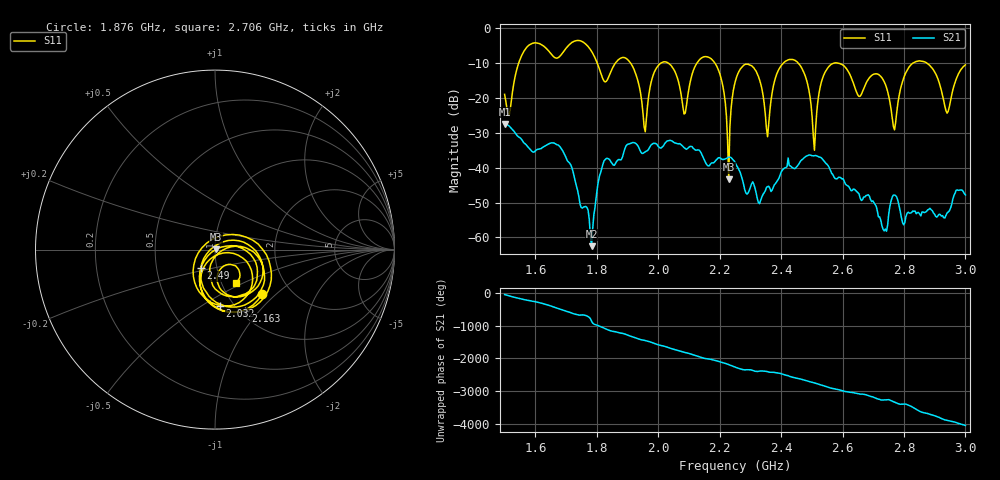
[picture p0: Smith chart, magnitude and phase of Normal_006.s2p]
# HZ S RI R 50
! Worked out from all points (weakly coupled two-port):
!   404 points, 1.5 GHz to 3 GHz, reference 50 ohm
!   highest |S21| = -27.55 dB at 1.5 GHz (marker M1); lowest = -62.5 dB at 1.783 GHz (marker M2)
!   lowest |S11| = -43.4 dB at 2.23 GHz (marker M3), VSWR 1.01, Z = 50.7 + j0.181 ohm
!   |S11| at or under -10 dB: 2.184 GHz to 2.409 GHz (225.5 MHz wide, 9.82 % of centre); 2.454 GHz to 2.832 GHz (377.7 MHz wide, 14.3 % of centre); 2.872 GHz to end of sweep (the widest 3 of 7)
!   S12 and S22 are empty: the file has one direction only
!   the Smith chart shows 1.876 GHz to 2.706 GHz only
!   S11 on the Smith chart (normalised r, x): 1.876 GHz: 1.44, -0.82; 2.032 GHz: 0.87, -0.60; 2.163 GHz: 1.06, -0.84; 2.49 GHz: 0.84, -0.18; 2.706 GHz: 1.17, -0.45
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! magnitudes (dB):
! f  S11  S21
! 1.5 GHz  -19.1  -27.6
! 1.753 GHz  -4.0  -51.6
! 1.783 GHz  -6.7  -62.5
! 1.876 GHz  -8.8  -37.8
! 1.958 GHz  -29.8  -35.5
! 2.002 GHz  -10.6  -34.2
! 2.032 GHz  -10.1  -32.3
! 2.084 GHz  -24.7  -34.3
! 2.163 GHz  -8.4  -39.5
! 2.23 GHz  -43.4  -37.0
! 2.252 GHz  -15.1  -38.8
! 2.33 GHz  -14.9  -50.3
! 2.356 GHz  -31.2  -45.4
! 2.412 GHz  -9.8  -40.1
! 2.49 GHz  -17.6  -36.4
! 2.501 GHz  -25.6  -36.6
! 2.561 GHz  -10.6  -40.9
! 2.706 GHz  -13.2  -50.5
! 2.751 GHz  -19.7  -53.2
! 2.859 GHz  -9.6  -52.7
! 2.94 GHz  -24.4  -53.0
! 3 GHz  -10.6  -47.8
